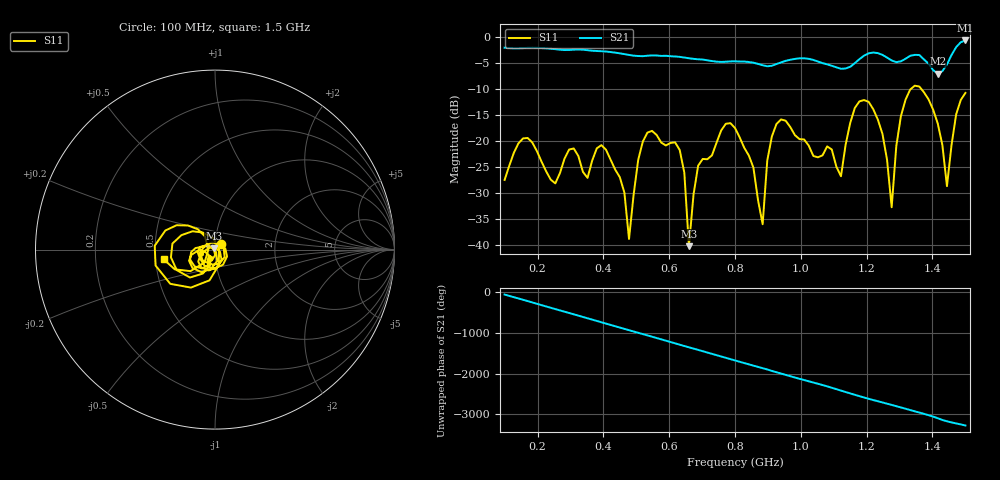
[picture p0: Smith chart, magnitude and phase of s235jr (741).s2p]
! NanoVNA-App
! Date: 2025-09-25 15:09:56
! Start: 100MHz Stop: 1,5GHz Points: 101
! S-Parameter data: F S11 S21 S12 S22
# Hz S RI R 50
!  Frequency  S11_Real  S11_Imag  S21_Real  S21_Imag  S12_Real  S12_Imag  S22_Real  S22_Imag
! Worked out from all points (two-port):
!   101 points, 100 MHz to 1.5 GHz, reference 50 ohm
!   highest |S21| = -0.57 dB at 1.5 GHz (marker M1); lowest = -7.0 dB at 1.416 GHz (marker M2)
!   |S21| within 3 dB of the highest: start of sweep to 505.9 MHz; 524.9 MHz to 597.4 MHz (72.52 MHz wide, 12.9 % of centre) (the widest 2 of 5)
!   lowest |S11| = -40.2 dB at 660 MHz (marker M3), VSWR 1.02, Z = 49.3 + j0.635 ohm
!   |S11| at or under -10 dB: start of sweep to 1.333 GHz; 1.367 GHz to end of sweep
!   S12 and S22 are empty: the file has one direction only
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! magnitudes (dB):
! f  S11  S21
! 100 MHz  -27.5  -2.0
! 156 MHz  -19.5  -2.0
! 338 MHz  -25.9  -2.4
! 408 MHz  -21.6  -2.7
! 478 MHz  -38.9  -3.4
! 520 MHz  -20.1  -3.6
! 576 MHz  -20.3  -3.6
! 632 MHz  -21.7  -3.7
! 660 MHz  -40.2  -4.0
! 688 MHz  -24.7  -4.2
! 800 MHz  -17.5  -4.6
! 884 MHz  -36.0  -5.4
! 926 MHz  -16.7  -5.1
! 1.038 GHz  -22.9  -4.3
! 1.122 GHz  -26.8  -6.0
! 1.206 GHz  -12.4  -3.1
! 1.276 GHz  -32.7  -4.4
! 1.304 GHz  -15.2  -4.6
! 1.332 GHz  -10.1  -3.5
! 1.416 GHz  -16.6  -7.0
! 1.444 GHz  -28.7  -5.2
! 1.5 GHz  -10.7  -0.6
